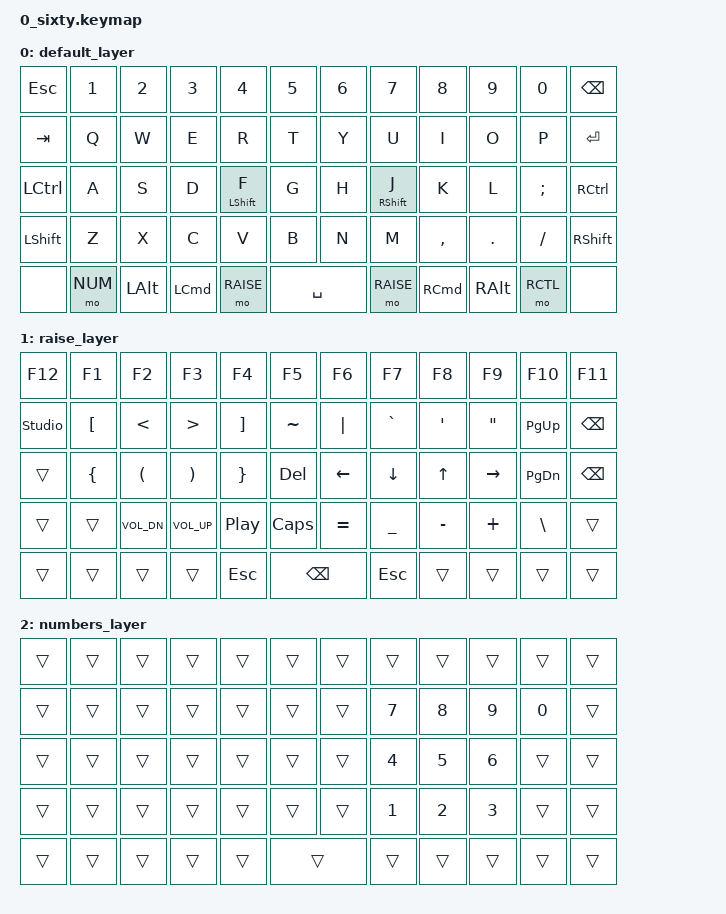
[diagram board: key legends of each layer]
/*
 * Copyright (c) 2020 The ZMK Contributors
 *
 * SPDX-License-Identifier: MIT
 */

#include <behaviors.dtsi>
#include <dt-bindings/zmk/keys.h>

#define DEFAULT 0
#define RAISE 1
#define NUM 2

/ {
    behaviors {
        hml: home_row_mod_left {
            compatible = "zmk,behavior-hold-tap";
            #binding-cells = <2>;
            flavor = "balanced";
            /* require-prior-idle-ms = <150>; */
            tapping-term-ms = <280>;
            quick-tap-ms = <175>;
            bindings = <&kp>, <&kp>;
            hold-trigger-key-positions = <
                 6  7  8  9 10 11
                18 19 20 21 22 23
                30 31 32 33 34 35
                42 43 44 45 46 47
            >; // Right side keys, only these will trigger hold
            hold-trigger-on-release;
        };
        hmr: home_row_mod_right {
            compatible = "zmk,behavior-hold-tap";
            #binding-cells = <2>;
            flavor = "balanced";
            /* require-prior-idle-ms = <150>; */
            tapping-term-ms = <280>;
            quick-tap-ms = <175>;
            bindings = <&kp>, <&kp>;
            hold-trigger-key-positions = <
                 0  1  2  3  4  5
                12 13 14 15 16 17
                24 25 26 27 28 29
                36 37 38 39 40 41
            >; // List of keys on the left side of the keyboard
            hold-trigger-on-release;
        };
    };
};

/ {
    keymap {
        compatible = "zmk,keymap";

        default_layer {
            bindings = <
/*
|  ESC  |  1  |  2  |  3  |  4  |  5  |  6  |  7  |  8  |  9  |  0  | BKSP |
|  TAB  |  Q  |  W  |  E  |  R  |  T  |  Y  |  U  |  I  |  O  |  P  | RET  |
|  LCTL |  A  |  S  |  D  |  F  |  G  |  H  |  J  |  K  |  L  |  ;  | RCTL |
| SHIFT |  Z  |  X  |  C  |  V  |  B  |  N  |  M  |  ,  |  .  |  /  | SHFT |
|       | NUM | ALT | CMD |RAISE|   SPACE   |RAISE| CMD | ALT |RCTL |      |
*/
&kp ESC      &kp N1   &kp N2   &kp N3   &kp N4        &kp N5   &kp N6    &kp N7        &kp   N8  &kp  N9  &kp  N0  &kp BSPC
&kp TAB      &kp Q    &kp W    &kp E    &kp R         &kp T    &kp Y     &kp U         &kp   I   &kp  O   &kp   P  &kp RET
&kp LCTL     &kp A    &kp S    &kp D    &hml LSHIFT F &kp G    &kp H     &hmr RSHIFT J &kp   K   &kp  L   &kp SEMI &kp RCTL
&kp LSHFT    &kp Z    &kp X    &kp C    &kp V         &kp B    &kp N     &kp M         &kp COMMA &kp DOT  &kp FSLH &kp RSHFT
&none        &mo NUM  &kp LALT &kp LCMD &mo RAISE           &kp SPACE    &mo RAISE     &kp RCMD  &kp RALT &mo RCTL &none
            >;
        };

        raise_layer {
            bindings = <
/*
|  F12   |  F1  |   F2  |   F3  |  F4  |  F5  |  F6  |  F7  |  F8  |   F9  |  F10 |  F11 |
| UNLOCK |  [   |   <   |   >   |  ]   |  ~   |  |   |  `   |  '   |   "   | PGUP |  BS  |
|        |  {   |   (   |   )   |  }   | DEL  | LEFT | DOWN |  UP  | RIGHT | PGDN |  BS  |
| SHIFT  |      | VOLDN | VOLUP | PLAY | CAPS |  =   |  _   |  -   |   +   |   \  | SHFT |
|        |      |       |       |      |     ESC     |      |      |       |      |      |
*/
&kp F12        &kp F1     &kp F2        &kp F3        &kp F4     &kp F5     &kp F6     &kp F7     &kp F8     &kp F9     &kp F10    &kp F11
&studio_unlock &kp LBKT   &kp LT        &kp GT        &kp RBKT   &kp TILDE  &kp PIPE   &kp GRAVE  &kp APOS   &kp DQT    &kp PG_UP  &kp BSPC
&trans         &kp LBRC   &kp LPAR      &kp RPAR      &kp RBRC   &kp DEL    &kp LEFT   &kp DOWN   &kp UP     &kp RIGHT  &kp PG_DN  &kp BSPC
&trans         &trans     &kp C_VOL_DN  &kp C_VOL_UP  &kp C_PP   &kp CAPS   &kp EQUAL  &kp UNDER  &kp MINUS  &kp PLUS   &kp BSLH   &trans
&trans         &trans     &trans        &trans        &kp ESC               &kp BSPC   &kp ESC    &trans     &trans     &trans     &trans
            >;
        };

        numbers_layer {
            bindings = <
/*
|    |    |    |    |    |    |    |     |     |     |     |    |
|    |    |    |    |    |    |    |  7  |  8  |  9  |  0  |    |
|    |    |    |    |    |    |    |  4  |  5  |  6  |     |    |
|    |    |    |    |    |    |    |  1  |  2  |  3  |     |    |
|    |    |    |    |    |         |     |     |     |     |    |
*/
&trans &trans &trans &trans &trans &trans &trans &trans &trans &trans &trans &trans
&trans &trans &trans &trans &trans &trans &trans &kp N7 &kp N8 &kp N9 &kp N0 &trans
&trans &trans &trans &trans &trans &trans &trans &kp N4 &kp N5 &kp N6 &trans &trans
&trans &trans &trans &trans &trans &trans &trans &kp N1 &kp N2 &kp N3 &trans &trans
&trans &trans &trans &trans &trans        &trans &trans &trans &trans &trans &trans
            >;

        };

    };
};
